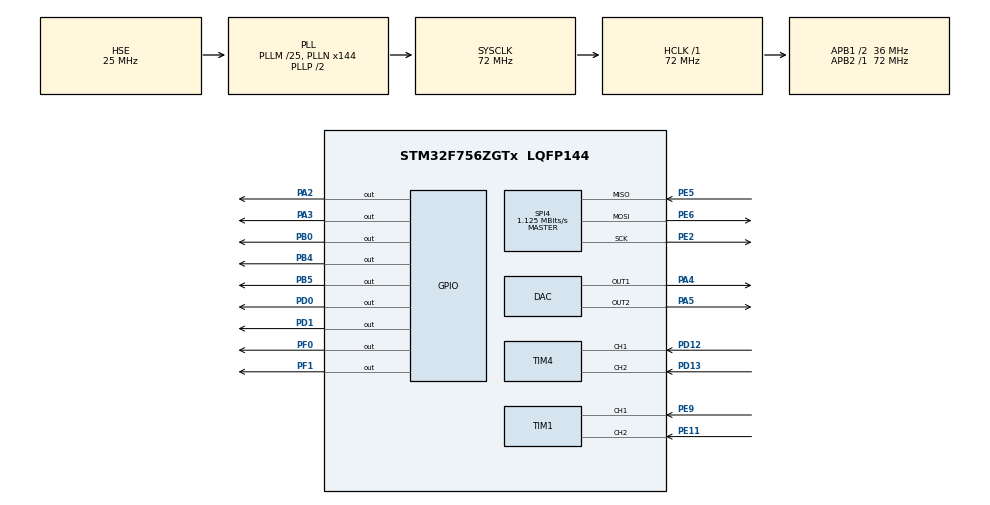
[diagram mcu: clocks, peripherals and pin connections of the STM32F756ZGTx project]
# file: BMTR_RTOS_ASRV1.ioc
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CORTEX_M7.default_mode_Activation=1
FATFS._MAX_SS=4096
FREERTOS.Tasks01=Record,0,128,StartDefaultTask,Default,NULL,Dynamic,NULL,NULL;MainController,2,128,StartTask02,Default,NULL,Dynamic,NULL,NULL
Mcu.Family=STM32F7
Mcu.Name=STM32F756ZGTx
Mcu.Package=LQFP144
NVIC.PriorityGroup=NVIC_PRIORITYGROUP_4
NVIC.TIM5_IRQn=true\:15\:0\:false\:false\:true\:false\:false\:true\:true
NVIC.TIM8_UP_TIM13_IRQn=true\:5\:0\:false\:false\:true\:true\:true\:true\:true
NVIC.TimeBase=TIM5_IRQn
NVIC.TimeBaseIP=TIM5
PA13.Mode=Serial_Wire
PA13.Signal=SYS_JTMS-SWDIO
PA14.Mode=Serial_Wire
PA14.Signal=SYS_JTCK-SWCLK
PA2.Signal=GPIO_Output
PA3.Signal=GPIO_Output
PA4.Signal=COMP_DAC1_group
PA5.Signal=COMP_DAC2_group
PB0.Signal=GPIO_Output
PB4.Signal=GPIO_Output
PB5.Signal=GPIO_Output
PD0.Signal=GPIO_Output
PD1.Signal=GPIO_Output
PD12.Signal=S_TIM4_CH1
PD13.Signal=S_TIM4_CH2
PE11.Signal=S_TIM1_CH2
PE2.Mode=Full_Duplex_Master
PE2.Signal=SPI4_SCK
PE5.Mode=Full_Duplex_Master
PE5.Signal=SPI4_MISO
PE6.Mode=Full_Duplex_Master
PE6.Signal=SPI4_MOSI
PE9.Signal=S_TIM1_CH1
PF0.Signal=GPIO_Output
PF1.Signal=GPIO_Output
PH0/OSC_IN.Mode=HSE-External-Oscillator
PH0/OSC_IN.Signal=RCC_OSC_IN
PH1/OSC_OUT.Mode=HSE-External-Oscillator
PH1/OSC_OUT.Signal=RCC_OSC_OUT
ProjectManager.HeapSize=0x200
ProjectManager.StackSize=0x400
ProjectManager.TargetToolchain=STM32CubeIDE
RCC.AHBFreq_Value=72000000
RCC.APB1CLKDivider=RCC_HCLK_DIV2
RCC.APB1Freq_Value=36000000
RCC.APB1TimFreq_Value=72000000
RCC.APB2Freq_Value=72000000
RCC.APB2TimFreq_Value=72000000
RCC.CortexFreq_Value=72000000
RCC.HCLKFreq_Value=72000000
RCC.HSE_VALUE=25000000
RCC.HSI_VALUE=16000000
RCC.LSE_VALUE=32768
RCC.PLLM=25
RCC.PLLN=144
RCC.PLLSourceVirtual=RCC_PLLSOURCE_HSE
RCC.SYSCLKFreq_VALUE=72000000
RCC.SYSCLKSource=RCC_SYSCLKSOURCE_PLLCLK
RCC.USBFreq_Value=72000000
RCC.VCOOutputFreq_Value=144000000
SH.COMP_DAC1_group.0=DAC_OUT1,DAC_OUT1
SH.COMP_DAC2_group.0=DAC_OUT2,DAC_OUT2
SH.S_TIM1_CH1.0=TIM1_CH1,Encoder_Interface
SH.S_TIM1_CH2.0=TIM1_CH2,Encoder_Interface
SH.S_TIM4_CH1.0=TIM4_CH1,Encoder_Interface
SH.S_TIM4_CH2.0=TIM4_CH2,Encoder_Interface
SPI4.BaudRatePrescaler=SPI_BAUDRATEPRESCALER_64
SPI4.CLKPhase=SPI_PHASE_1EDGE
SPI4.CalculateBaudRate=1.125 MBits/s
SPI4.DataSize=SPI_DATASIZE_8BIT
SPI4.Direction=SPI_DIRECTION_2LINES
SPI4.Mode=SPI_MODE_MASTER
SPI4.VirtualType=VM_MASTER
TIM1.EncoderMode=TIM_ENCODERMODE_TI12
TIM1.IC1Filter=4
TIM1.IC1Polarity=TIM_ICPOLARITY_FALLING
TIM1.IC2Filter=4
TIM1.IC2Polarity=TIM_ICPOLARITY_FALLING
TIM13.Period=999
TIM13.Prescaler=14400-1
TIM2.Period=0xFFFFFFFF
TIM2.Prescaler=72*5-1
TIM4.EncoderMode=TIM_ENCODERMODE_TI12
TIM4.IC1Filter=8
TIM4.IC1Polarity=TIM_ICPOLARITY_FALLING
TIM4.IC2Filter=8
TIM4.IC2Polarity=TIM_ICPOLARITY_FALLING
VP_FATFS_VS_Generic.Mode=User_defined
VP_FREERTOS_VS_CMSIS_V1.Mode=CMSIS_V1
VP_SYS_VS_tim5.Mode=TIM5
VP_TIM13_VS_ClockSourceINT.Mode=Enable_Timer
VP_TIM2_VS_ClockSourceINT.Mode=Internal
board=custom

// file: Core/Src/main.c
/* USER CODE BEGIN Header */
/**
  ******************************************************************************
  * @file           : main.c
  * @brief          : Main program body
  ******************************************************************************
  * @attention
  *
  * Copyright (c) 2025 STMicroelectronics.
  * All rights reserved.
  *
  * This software is licensed under terms that can be found in the LICENSE file
  * in the root directory of this software component.
  * If no LICENSE file comes with this software, it is provided AS-IS.
  *
  ******************************************************************************
  */
/* USER CODE END Header */
#include "main.h"
#include "cmsis_os.h"
#include "fatfs.h"

/* USER CODE BEGIN Includes */
#include "fatfs_sd.h"
#include "string.h"
#include "stdio.h"
#include <math.h>
#include <stdint.h>
#include <stdbool.h>
uint16_t dac_value=500;
/* USER CODE END Includes */

DAC_HandleTypeDef hdac;

SPI_HandleTypeDef hspi4;

TIM_HandleTypeDef htim1;
TIM_HandleTypeDef htim2;
TIM_HandleTypeDef htim4;
TIM_HandleTypeDef htim13;

osThreadId RecordHandle;
osThreadId MainControllerHandle;

void SystemClock_Config(void);
static void MPU_Config(void);
static void MX_GPIO_Init(void);
static void MX_TIM1_Init(void);
static void MX_TIM4_Init(void);
static void MX_TIM13_Init(void);
static void MX_SPI4_Init(void);
static void MX_DAC_Init(void);
static void MX_TIM2_Init(void);
void StartDefaultTask(void const * argument);
void StartTask02(void const * argument);

/* USER CODE BEGIN 0 */
// ────────────── ⏱ Timer & Counter Variables ──────────────
uint32_t MainTaskCount    = 0;
uint32_t RecordTaskCount  = 0;

// ────────────── 📟 Encoder Tick Counters ──────────────
uint32_t encoder_ticks    = 0;        // Current tick count from Encoder 1
uint32_t encoder_ticks_prev = 0;     // Previous tick count from Encoder 1
uint32_t encoder_ticks2   = 0;        // Current tick count from Encoder 2
uint32_t encoder_ticks2_prev = 0;    // Previous tick count from Encoder 2

// ────────────── ⏲ Counters for Events ──────────────
uint32_t MainloopCount    = 0;        // Main loop counter to track loop iterations or events
uint32_t SDCardCount      = 0;        // SD card related counter
uint32_t record_number    = 1;        // Record number counter
uint32_t communicationError = 0;      // Counter for communication errors

// ────────────── ⏳ Timing Variables ──────────────
uint32_t time_interval    = 5;        // Time interval in milliseconds (0.005 seconds at 20 kHz Timer)
uint32_t time_start       = 0;
uint32_t time_end         = 0;
uint32_t secondFromStart  = 0;

// ────────────── 🗄 File System Variables ──────────────
FATFS fs;                         // FatFs structure to manage the file system
FIL fil;                          // File object structure for file operations
FRESULT fresult;                  // Result variable to capture FatFs API function responses

// ────────────── 💾 Buffer for SD Card Operations ──────────────
char buffer[2048];                // Buffer for storing data during SD card operations
UINT br;                           // Bytes read from the file
UINT bw;                           // Bytes written to the file

// ────────────── 🧪 Test & Algorithm Variables ──────────────
FRESULT fresult2;
volatile int EncoderUpdated = 0;
int SDCardRecordMode = 0;

// ────────────── 🚀 Algorithm Code Variables ──────────────
#define CPR 53248.0f//(2048*26)         // Counter Per Revolution
#define MAX_COUNT 65535*26

// Position (angles in rad) for Encoder 1 and Encoder 2
int16_t prev_ticks1 = 0, prev_ticks2 = 0;    // Previous counts for each encoder
float theta1 = 0.0, theta2 = 0.0;
float theta1_prev = 0.0, theta2_prev = 0.0;

// Velocity calculations
float velocity1 = 0.0, velocity2 = 0.0;
float velocity1_prev = 0.0, velocity2_prev = 0.0;
float velocity1Filtered=0.0,velocity2Filtered=0.0;
// Acceleration calculations
float acceleration1 = 0.0, acceleration2 = 0.0;
float acceleration1_prev=0.0;
// ────────────── 🛠 Parameters ──────────────
#define G 70     // Smoothing factor for velocity filter
#define G2 70     // Smoothing factor for velocity filter
// ────────────── ⚙️ Motor 2 Parameters ──────────────
float Icmd2 = 1.1;      // Commanded current (A)
float Ktn2 = 0.0705;    // Torque constant (Nm/A)
float Jn2 = +3069.1e-7; // Motor inertia (kg·m^2)
float Gdis2 = 95.0;     // Disturbance observer gain
float Kt2 = 0.0705;     // Additional torque constant scaling
float Grtob2 = 45.0;    // Reaction torque observer gain
float Fint2 = 0.08;     // Internal force (Nm)
float Ffric2 = 0.04;    // Friction force (Nm)

// ────────────── ⚙️ Motor 1 Physical and Control Parameters ──────────────
float gear_ratio = 26.0f;                   // Gear ratio
float commanded_current = 0.0f;             // Icmd1: Commanded current (A)
float torque_constant_motor = 1.5365f;      // Ktn1: Motor torque constant (Nm/A),(0.0712 x 26 x 0.83)
float motor_inertia = 0.2144f;  //*26*26;           // Jn1: Motor inertia (kg·m²), (0.0003170 x 26 x 26)
float torque_constant_load = 1.5365f;       // Kt1: Load-side torque constant (Nm/A), (0.0712 x 26 x 0.83)
float disturbance_gain = 20.0f;             // Gdis1: DOB gain (~20Hz cutoff)
float reaction_gain = 20.0f;                // Grtob1: RTOB gain (~15Hz cutoff)
float internal_friction = 0.001f;//130f;          // Fint: Internal friction torque (Nm)
float viscous_friction = 0.0003f;           // Ffric: Viscous friction torque (Nm)
float pulses_per_revolution = 1024.0f;       // PPR: Encoder pulses per revolution
int motor_direction_flag = 0;
float dt_torque_constant_motor =0.0f;// Motor1DirB
uint16_t voltage_reference_1=0;
uint16_t voltage_reference_2=0;
// PI Controller gains for acceleration control
float proportional_gain = 4.6f;            // kp
float integral_gain = 0.0f;                // ki
float motor1MaxCurrent=3.0f;
// ────────────── ⏲️ Timing and Sampling ──────────────
float sampling_time = 0.005f;                 // dt_s: Set this appropriately in your loop

// ────────────── 📊 Observer and Control State Variables ──────────────
float previous_torque_error_integral = 0.0f;  // errorPreviousI1

// Output variables
float commanded_acceleration = 0.0f;
float inertia_compensation_current = 0.0f;
float disturbance_current = 0.0f;

// ────────────── 🔍 Disturbance Observer (DOB) Variables ──────────────
float estimated_motor_torque = 0.0f;
float estimated_velocity_disturbance = 0.0f;
float disturbance_observer_input = 0.0f;
float filtered_dob_input = 0.0f;
float filtered_dob_input_prev = 0.0f;
float estimated_torque_disturbance = 0.0f;

// ────────────── 🔍 Reaction Torque Observer (RTOB) Variables ──────────────
float updated_motor_torque = 0.0f;
float reaction_torque_input = 0.0f;
float filtered_reaction_torque = 0.0f;
float filtered_reaction_torque_prev = 0.0f;
float reaction_torque =0.0f;
float motor01_torque_profile_withtheta1 =0.0f;
float assit_torque = 0.0f;
// ────────────── ⚙️ Control Error Terms ──────────────
float desired_torque = 0.0f;                // Set externally per control target
float torque_error = 0.0f;
float torque_error_integral = 0.0f;
float motor_velocity = 0.0f;                // Set from encoder/sensor
float effective_velocity =0.0f;
// ────────────── ⚙️ Motor 2 Physical and Control Parameters ──────────────
float motor02_commanded_current = 0.0f;             // Commanded current (A)
float motor02_torque_constant = 1.5365f;            // Motor torque constant (Nm/A)
float motor02_inertia = 0.2144f;                 // Motor inertia (kg·m²)
float motor02_torque_constant_load = 1.5365f;       // Load-side torque constant (Nm/A)
float motor02_disturbance_gain = 20.1f;             // DOB gain (~20Hz cutoff)
float motor02_reaction_gain = 20.1f;                 // RTOB gain (~15Hz cutoff)
float motor02_internal_friction = 0.001f;          // Internal friction torque (Nm)
float motor02_viscous_friction = 0.0003f;           // Viscous friction torque (Nm)
float motor02_pulses_per_revolution = 1024.0f;       // Encoder pulses per revolution
float motor02_gear_ratio = 26.0f;                    // Gear ratio
int motor02_direction_flag = 0;                       // Motor direction flag

// PI Controller gains for acceleration control
float motor02_proportional_gain = 4.6f;            // kp
float motor02_integral_gain = 0.0f;                 // ki

// ────────────── ⏲️ Timing and Sampling ──────────────
float motor02_sampling_time = 0.005f;                  // dt_s (set appropriately)

// ────────────── 📊 Observer and Control State Variables ──────────────
float motor02_previous_torque_error_integral = 0.0f; // Integral error accumulator
bool reverse_motor2_encoder = true;  // Set to true to reverse Motor 2 encoder direction
// Output variables
float motor02_commanded_acceleration = 0.0f;
float motor02_inertia_compensation_current = 0.0f;
float motor02_disturbance_current = 0.0f;

// ────────────── 🔍 Disturbance Observer (DOB) Variables ──────────────
float motor02_estimated_motor_torque = 0.0f;
float motor02_estimated_velocity_disturbance = 0.0f;
float motor02_disturbance_observer_input = 0.0f;
float motor02_filtered_dob_input = 0.0f;
float motor02_filtered_dob_input_prev = 0.0f;
float motor02_estimated_torque_disturbance = 0.0f;

// ────────────── 🔍 Reaction Torque Observer (RTOB) Variables ──────────────
float motor02_updated_motor_torque = 0.0f;
float motor02_reaction_torque_input = 0.0f;
float motor02_filtered_reaction_torque = 0.0f;
float motor02_filtered_reaction_torque_prev = 0.0f;
float motor02_reaction_torque = 0.0f;
// ────────────── ⚙️ Control Error Terms ──────────────
float motor02_desired_torque = 0.0f;                  // Set externally per control target
float motor02_torque_error = 0.0f;
float motor02_torque_error_integral = 0.0f;
float motor02_motor_velocity = 0.0f;
float motor02_torque_profile_withtheta2 =0.0f;
// ────────────── 🚀 Acceleration Set Points ──────────────
float Set_Accelaration1 = 500;  // Desired acceleration
float Set_Torque1 = 0;  // Desired acceleration
float dt_s = 0.005f;
float ks=0.01f;
#define MOTOR2_DIRECTION_SIGN  (-1.0f)  // Set to 1.0f for forward mount, -1.0f for reversed
// ────────────── HAL Status ──────────────
HAL_StatusTypeDef status;
uint16_t OutputVref = 5000;         // DAC output voltage reference value
uint16_t ENABLEmOTOR = 1;         // DAC output voltage reference value

// ────────────── Low-pass Filter Function ──────────────
float applyLowPassFilterVelocity(float X, float Y_old) {
    // Apply the first-order low-pass filter formula
    float Y = Y_old + G *dt_s* (X - Y_old);  // Filtered value
    return Y;
}
float applyLowPassFilterVelocity2(float X, float Y_old) {
    // Apply the first-order low-pass filter formula
    float Y = Y_old + G2 *dt_s* (X - Y_old);  // Filtered value
    return Y;
}
float applyLowPassFilterAcceleration(float X, float Y_old) {
    float alpha = 0.05f;  // Adjust as needed (lower = smoother, higher = faster response)
    return Y_old + alpha * (X - Y_old);
}
// ────────────── Motor Control Functions ──────────────
void ConfigureMotor01(int Enable, int Clockwise, uint16_t dac_value) {
    HAL_GPIO_WritePin(GPIOB, GPIO_PIN_4, Clockwise);
    HAL_GPIO_WritePin(GPIOB, GPIO_PIN_5, Enable);
    HAL_DAC_SetValue(&hdac, DAC_CHANNEL_1, DAC_ALIGN_12B_R, dac_value);
}

void ConfigureMotor02(int Enable, int Clockwise, uint16_t dac_value) {
    HAL_GPIO_WritePin(GPIOA, GPIO_PIN_2, Clockwise);
    HAL_GPIO_WritePin(GPIOA, GPIO_PIN_3, Enable);
    HAL_DAC_SetValue(&hdac, DAC_CHANNEL_2, DAC_ALIGN_12B_R, dac_value);
}
void UpdateMotor01CommandedCurrent(void)
{
    /*********************************************************
     *        Disturbance Observer for Motor 01             *
     *********************************************************/

    // Calculate motor torque from commanded current
    estimated_motor_torque = commanded_current * torque_constant_motor;

    // Estimate velocity disturbance
    estimated_velocity_disturbance = motor_velocity * motor_inertia * disturbance_gain;
    //estimated_velocity_disturbance = updated_motor_torque + motor_velocity * motor_inertia * reaction_gain - (internal_friction + viscous_friction * motor_velocity);
    // Input to disturbance observer filter
    disturbance_observer_input = estimated_motor_torque - estimated_velocity_disturbance;

    // Apply low-pass filter (difference equation form)
    filtered_dob_input = filtered_dob_input_prev + (disturbance_gain * sampling_time)* (disturbance_observer_input - filtered_dob_input_prev);
    filtered_dob_input_prev = filtered_dob_input;

    // Estimate torque disturbance and convert to equivalent current
    estimated_torque_disturbance = filtered_dob_input - estimated_velocity_disturbance;
    disturbance_current = estimated_torque_disturbance / torque_constant_motor;

    /*********************************************************
     *   Torque Observer + PI Controller to Set Acceleration
     *********************************************************/

    // Recompute torque with updated current (for reaction estimation)
    estimated_motor_torque = commanded_current * torque_constant_motor;

    // Estimate total reaction torque input (includes inertia and losses)
    estimated_velocity_disturbance = motor_velocity * motor_inertia * reaction_gain;
    //Delta torque_constant_motor,  Delta torque_constant_motor
    reaction_torque_input = estimated_motor_torque -  estimated_velocity_disturbance - (internal_friction + (viscous_friction * motor_velocity) - (dt_torque_constant_motor*commanded_current));

    // Apply low-pass filter for reaction torque estimate
    filtered_reaction_torque = filtered_reaction_torque_prev + (reaction_gain * sampling_time) * (reaction_torque_input - filtered_reaction_torque_prev);
    filtered_reaction_torque_prev = filtered_reaction_torque;

    // Subtract inertial effect to isolate external torque

    reaction_torque = filtered_reaction_torque - estimated_velocity_disturbance;
    //desired_torque = motor01_torque_profile_withtheta1;
    // PI Controller for acceleration control
    torque_error = (desired_torque - reaction_torque);
    torque_error_integral = (torque_error * sampling_time) + previous_torque_error_integral;
    previous_torque_error_integral = torque_error_integral;

    commanded_acceleration = (proportional_gain * torque_error) + (integral_gain * torque_error_integral);

    // Compute inertia-driven current command
    inertia_compensation_current = (motor_inertia * commanded_acceleration) / torque_constant_motor;

    // Final commanded current is inertia compensation + disturbance compensation
    //commanded_current = inertia_compensation_current + disturbance_current;
     commanded_current = inertia_compensation_current+ disturbance_current; //added for DOB tuning
     desired_torque=ks*(theta1-theta2)*motor_inertia-reaction_torque-motor02_reaction_torque;
}
void UpdateMotor02CommandedCurrent(void)
{
    /*********************************************************
     *  1. Disturbance Observer for Motor 02
     *********************************************************/

    // Calculate estimated motor torque
    motor02_estimated_motor_torque = motor02_commanded_current * motor02_torque_constant;

    // Apply direction correction to velocity
    effective_velocity =motor02_motor_velocity;

    // Estimate velocity disturbance
    motor02_estimated_velocity_disturbance = effective_velocity * motor02_inertia * motor02_disturbance_gain;

    // Input to disturbance observer filter
    motor02_disturbance_observer_input = motor02_estimated_motor_torque - motor02_estimated_velocity_disturbance;

    // Low-pass filter (difference equation form)
    motor02_filtered_dob_input = motor02_filtered_dob_input_prev +
                                 (motor02_disturbance_gain * motor02_sampling_time) *
                                 (motor02_disturbance_observer_input - motor02_filtered_dob_input_prev);
    motor02_filtered_dob_input_prev = motor02_filtered_dob_input;

    // Torque disturbance and equivalent current
    motor02_estimated_torque_disturbance = motor02_filtered_dob_input - motor02_estimated_velocity_disturbance;
    motor02_disturbance_current = motor02_estimated_torque_disturbance / motor02_torque_constant;

    /*********************************************************
     *   Torque Observer + PI Controller to Set Acceleration
     *********************************************************/

    motor02_updated_motor_torque = motor02_commanded_current * motor02_torque_constant;

    motor02_reaction_torque_input = motor02_updated_motor_torque - motor02_estimated_velocity_disturbance
                                    - (motor02_internal_friction + motor02_viscous_friction * effective_velocity);

    motor02_filtered_reaction_torque = motor02_filtered_reaction_torque_prev +
                                       (motor02_reaction_gain * motor02_sampling_time) *
                                       (motor02_reaction_torque_input - motor02_filtered_reaction_torque_prev);
    motor02_filtered_reaction_torque_prev = motor02_filtered_reaction_torque;

    motor02_reaction_torque = motor02_filtered_reaction_torque -
                              (effective_velocity * motor02_inertia * motor02_reaction_gain);

    motor02_torque_error = motor02_desired_torque - motor02_reaction_torque;
    motor02_torque_error_integral = (motor02_torque_error * motor02_sampling_time) + motor02_previous_torque_error_integral;
    motor02_previous_torque_error_integral = motor02_torque_error_integral;

    motor02_commanded_acceleration =
        (motor02_proportional_gain * motor02_torque_error) +
        (motor02_integral_gain * motor02_torque_error_integral);

    motor02_inertia_compensation_current =
        (motor02_inertia * motor02_commanded_acceleration) / motor02_torque_constant;

    motor02_commanded_current = motor02_inertia_compensation_current + motor02_disturbance_current;
    motor02_desired_torque =(ks*(theta2-theta1)*motor_inertia-reaction_torque-motor02_reaction_torque);

}

/* USER CODE END 0 */

int main(void)
{

  /* MPU Configuration--------------------------------------------------------*/
  MPU_Config();

  /* MCU Configuration--------------------------------------------------------*/

  /* Reset of all peripherals, Initializes the Flash interface and the Systick. */
  HAL_Init();

  /* Configure the system clock */
  SystemClock_Config();

  /* Initialize all configured peripherals */
  MX_GPIO_Init();
  MX_TIM1_Init();
  MX_TIM4_Init();
  MX_TIM13_Init();
  MX_SPI4_Init();
  MX_FATFS_Init();
  MX_DAC_Init();
  MX_TIM2_Init();
  /* USER CODE BEGIN 2 */
  HAL_TIM_Encoder_Start(&htim4, TIM_CHANNEL_ALL);
  HAL_TIM_Encoder_Start(&htim1, TIM_CHANNEL_ALL);
  HAL_TIM_Base_Start(&htim2);
  HAL_DAC_Start(&hdac, DAC_CHANNEL_1);
  HAL_DAC_Start(&hdac, DAC_CHANNEL_2);
  /* USER CODE END 2 */

  /* Create the thread(s) */
  /* definition and creation of Record */
  osThreadDef(Record, StartDefaultTask, osPriorityNormal, 0, 128);
  RecordHandle = osThreadCreate(osThread(Record), NULL);

  /* definition and creation of MainController */
  osThreadDef(MainController, StartTask02, osPriorityHigh, 0, 128);
  MainControllerHandle = osThreadCreate(osThread(MainController), NULL);

  /* Start scheduler */
  osKernelStart();

  /* We should never get here as control is now taken by the scheduler */

  /* Infinite loop */
  while (1)
  {

  }
}

void SystemClock_Config(void)
{
  RCC_OscInitTypeDef RCC_OscInitStruct = {0};
  RCC_ClkInitTypeDef RCC_ClkInitStruct = {0};

  /** Configure the main internal regulator output voltage
  */
  __HAL_RCC_PWR_CLK_ENABLE();
  __HAL_PWR_VOLTAGESCALING_CONFIG(PWR_REGULATOR_VOLTAGE_SCALE3);

  /** Initializes the RCC Oscillators according to the specified parameters
  * in the RCC_OscInitTypeDef structure.
  */
  RCC_OscInitStruct.OscillatorType = RCC_OSCILLATORTYPE_HSE;
  RCC_OscInitStruct.HSEState = RCC_HSE_ON;
  RCC_OscInitStruct.PLL.PLLState = RCC_PLL_ON;
  RCC_OscInitStruct.PLL.PLLSource = RCC_PLLSOURCE_HSE;
  RCC_OscInitStruct.PLL.PLLM = 25;
  RCC_OscInitStruct.PLL.PLLN = 144;
  RCC_OscInitStruct.PLL.PLLP = RCC_PLLP_DIV2;
  RCC_OscInitStruct.PLL.PLLQ = 2;
  if (HAL_RCC_OscConfig(&RCC_OscInitStruct) != HAL_OK)
  {
    Error_Handler();
  }

  /** Initializes the CPU, AHB and APB buses clocks
  */
  RCC_ClkInitStruct.ClockType = RCC_CLOCKTYPE_HCLK|RCC_CLOCKTYPE_SYSCLK
                              |RCC_CLOCKTYPE_PCLK1|RCC_CLOCKTYPE_PCLK2;
  RCC_ClkInitStruct.SYSCLKSource = RCC_SYSCLKSOURCE_PLLCLK;
  RCC_ClkInitStruct.AHBCLKDivider = RCC_SYSCLK_DIV1;
  RCC_ClkInitStruct.APB1CLKDivider = RCC_HCLK_DIV2;
  RCC_ClkInitStruct.APB2CLKDivider = RCC_HCLK_DIV1;

  if (HAL_RCC_ClockConfig(&RCC_ClkInitStruct, FLASH_LATENCY_2) != HAL_OK)
  {
    Error_Handler();
  }
}

static void MX_DAC_Init(void)
{

  DAC_ChannelConfTypeDef sConfig = {0};

  /** DAC Initialization
  */
  hdac.Instance = DAC;
  if (HAL_DAC_Init(&hdac) != HAL_OK)
  {
    Error_Handler();
  }

  /** DAC channel OUT1 config
  */
  sConfig.DAC_Trigger = DAC_TRIGGER_NONE;
  sConfig.DAC_OutputBuffer = DAC_OUTPUTBUFFER_ENABLE;
  if (HAL_DAC_ConfigChannel(&hdac, &sConfig, DAC_CHANNEL_1) != HAL_OK)
  {
    Error_Handler();
  }

  /** DAC channel OUT2 config
  */
  if (HAL_DAC_ConfigChannel(&hdac, &sConfig, DAC_CHANNEL_2) != HAL_OK)
  {
    Error_Handler();
  }

}

static void MX_SPI4_Init(void)
{

  /* SPI4 parameter configuration*/
  hspi4.Instance = SPI4;
  hspi4.Init.Mode = SPI_MODE_MASTER;
  hspi4.Init.Direction = SPI_DIRECTION_2LINES;
  hspi4.Init.DataSize = SPI_DATASIZE_8BIT;
  hspi4.Init.CLKPolarity = SPI_POLARITY_LOW;
  hspi4.Init.CLKPhase = SPI_PHASE_1EDGE;
  hspi4.Init.NSS = SPI_NSS_SOFT;
  hspi4.Init.BaudRatePrescaler = SPI_BAUDRATEPRESCALER_64;
  hspi4.Init.FirstBit = SPI_FIRSTBIT_MSB;
  hspi4.Init.TIMode = SPI_TIMODE_DISABLE;
  hspi4.Init.CRCCalculation = SPI_CRCCALCULATION_DISABLE;
  hspi4.Init.CRCPolynomial = 7;
  hspi4.Init.CRCLength = SPI_CRC_LENGTH_DATASIZE;
  hspi4.Init.NSSPMode = SPI_NSS_PULSE_ENABLE;
  if (HAL_SPI_Init(&hspi4) != HAL_OK)
  {
    Error_Handler();
  }

}

static void MX_TIM1_Init(void)
{

  TIM_Encoder_InitTypeDef sConfig = {0};
  TIM_MasterConfigTypeDef sMasterConfig = {0};

  htim1.Instance = TIM1;
  htim1.Init.Prescaler = 0;
  htim1.Init.CounterMode = TIM_COUNTERMODE_UP;
  htim1.Init.Period = 65535;
  htim1.Init.ClockDivision = TIM_CLOCKDIVISION_DIV1;
  htim1.Init.RepetitionCounter = 0;
  htim1.Init.AutoReloadPreload = TIM_AUTORELOAD_PRELOAD_DISABLE;
  sConfig.EncoderMode = TIM_ENCODERMODE_TI12;
  sConfig.IC1Polarity = TIM_ICPOLARITY_FALLING;
  sConfig.IC1Selection = TIM_ICSELECTION_DIRECTTI;
  sConfig.IC1Prescaler = TIM_ICPSC_DIV1;
  sConfig.IC1Filter = 4;
  sConfig.IC2Polarity = TIM_ICPOLARITY_FALLING;
  sConfig.IC2Selection = TIM_ICSELECTION_DIRECTTI;
  sConfig.IC2Prescaler = TIM_ICPSC_DIV1;
  sConfig.IC2Filter = 4;
  if (HAL_TIM_Encoder_Init(&htim1, &sConfig) != HAL_OK)
  {
    Error_Handler();
  }
  sMasterConfig.MasterOutputTrigger = TIM_TRGO_RESET;
  sMasterConfig.MasterOutputTrigger2 = TIM_TRGO2_RESET;
  sMasterConfig.MasterSlaveMode = TIM_MASTERSLAVEMODE_DISABLE;
  if (HAL_TIMEx_MasterConfigSynchronization(&htim1, &sMasterConfig) != HAL_OK)
  {
    Error_Handler();
  }

}

static void MX_TIM2_Init(void)
{

  TIM_ClockConfigTypeDef sClockSourceConfig = {0};
  TIM_MasterConfigTypeDef sMasterConfig = {0};

  htim2.Instance = TIM2;
  htim2.Init.Prescaler = 72*5-1;
  htim2.Init.CounterMode = TIM_COUNTERMODE_UP;
  htim2.Init.Period = 0xFFFFFFFF;
  htim2.Init.ClockDivision = TIM_CLOCKDIVISION_DIV1;
  htim2.Init.AutoReloadPreload = TIM_AUTORELOAD_PRELOAD_DISABLE;
  if (HAL_TIM_Base_Init(&htim2) != HAL_OK)
  {
    Error_Handler();
  }
  sClockSourceConfig.ClockSource = TIM_CLOCKSOURCE_INTERNAL;
  if (HAL_TIM_ConfigClockSource(&htim2, &sClockSourceConfig) != HAL_OK)
  {
    Error_Handler();
  }
  sMasterConfig.MasterOutputTrigger = TIM_TRGO_RESET;
  sMasterConfig.MasterSlaveMode = TIM_MASTERSLAVEMODE_DISABLE;
  if (HAL_TIMEx_MasterConfigSynchronization(&htim2, &sMasterConfig) != HAL_OK)
  {
    Error_Handler();
  }

}

static void MX_TIM4_Init(void)
{

  TIM_Encoder_InitTypeDef sConfig = {0};
  TIM_MasterConfigTypeDef sMasterConfig = {0};

  htim4.Instance = TIM4;
  htim4.Init.Prescaler = 0;
  htim4.Init.CounterMode = TIM_COUNTERMODE_UP;
  htim4.Init.Period = 65535;
  htim4.Init.ClockDivision = TIM_CLOCKDIVISION_DIV1;
  htim4.Init.AutoReloadPreload = TIM_AUTORELOAD_PRELOAD_DISABLE;
  sConfig.EncoderMode = TIM_ENCODERMODE_TI12;
  sConfig.IC1Polarity = TIM_ICPOLARITY_FALLING;
  sConfig.IC1Selection = TIM_ICSELECTION_DIRECTTI;
  sConfig.IC1Prescaler = TIM_ICPSC_DIV1;
  sConfig.IC1Filter = 8;
  sConfig.IC2Polarity = TIM_ICPOLARITY_FALLING;
  sConfig.IC2Selection = TIM_ICSELECTION_DIRECTTI;
  sConfig.IC2Prescaler = TIM_ICPSC_DIV1;
  sConfig.IC2Filter = 8;
  if (HAL_TIM_Encoder_Init(&htim4, &sConfig) != HAL_OK)
  {
    Error_Handler();
  }
  sMasterConfig.MasterOutputTrigger = TIM_TRGO_RESET;
  sMasterConfig.MasterSlaveMode = TIM_MASTERSLAVEMODE_DISABLE;
  if (HAL_TIMEx_MasterConfigSynchronization(&htim4, &sMasterConfig) != HAL_OK)
  {
    Error_Handler();
  }

}

static void MX_TIM13_Init(void)
{

  htim13.Instance = TIM13;
  htim13.Init.Prescaler = 14400-1;
  htim13.Init.CounterMode = TIM_COUNTERMODE_UP;
  htim13.Init.Period = 999;
  htim13.Init.ClockDivision = TIM_CLOCKDIVISION_DIV1;
  htim13.Init.AutoReloadPreload = TIM_AUTORELOAD_PRELOAD_DISABLE;
  if (HAL_TIM_Base_Init(&htim13) != HAL_OK)
  {
    Error_Handler();
  }

}

static void MX_GPIO_Init(void)
{
  GPIO_InitTypeDef GPIO_InitStruct = {0};

  /* GPIO Ports Clock Enable */
  __HAL_RCC_GPIOE_CLK_ENABLE();
  __HAL_RCC_GPIOF_CLK_ENABLE();
  __HAL_RCC_GPIOH_CLK_ENABLE();
  __HAL_RCC_GPIOA_CLK_ENABLE();
  __HAL_RCC_GPIOB_CLK_ENABLE();
  __HAL_RCC_GPIOD_CLK_ENABLE();

  /*Configure GPIO pin Output Level */
  HAL_GPIO_WritePin(GPIOF, GPIO_PIN_0|GPIO_PIN_1, GPIO_PIN_RESET);

  /*Configure GPIO pin Output Level */
  HAL_GPIO_WritePin(GPIOA, GPIO_PIN_2|GPIO_PIN_3, GPIO_PIN_RESET);

  /*Configure GPIO pin Output Level */
  HAL_GPIO_WritePin(GPIOB, GPIO_PIN_0|GPIO_PIN_4|GPIO_PIN_5, GPIO_PIN_RESET);

  /*Configure GPIO pin Output Level */
  HAL_GPIO_WritePin(GPIOD, GPIO_PIN_0|GPIO_PIN_1, GPIO_PIN_RESET);

  /*Configure GPIO pins : PF0 PF1 */
  GPIO_InitStruct.Pin = GPIO_PIN_0|GPIO_PIN_1;
  GPIO_InitStruct.Mode = GPIO_MODE_OUTPUT_PP;
  GPIO_InitStruct.Pull = GPIO_NOPULL;
  GPIO_InitStruct.Speed = GPIO_SPEED_FREQ_LOW;
  HAL_GPIO_Init(GPIOF, &GPIO_InitStruct);

  /*Configure GPIO pins : PA2 PA3 */
  GPIO_InitStruct.Pin = GPIO_PIN_2|GPIO_PIN_3;
  GPIO_InitStruct.Mode = GPIO_MODE_OUTPUT_PP;
  GPIO_InitStruct.Pull = GPIO_NOPULL;
  GPIO_InitStruct.Speed = GPIO_SPEED_FREQ_LOW;
  HAL_GPIO_Init(GPIOA, &GPIO_InitStruct);

  /*Configure GPIO pins : PB0 PB4 PB5 */
  GPIO_InitStruct.Pin = GPIO_PIN_0|GPIO_PIN_4|GPIO_PIN_5;
  GPIO_InitStruct.Mode = GPIO_MODE_OUTPUT_PP;
  GPIO_InitStruct.Pull = GPIO_NOPULL;
  GPIO_InitStruct.Speed = GPIO_SPEED_FREQ_LOW;
  HAL_GPIO_Init(GPIOB, &GPIO_InitStruct);

  /*Configure GPIO pins : PD0 PD1 */
  GPIO_InitStruct.Pin = GPIO_PIN_0|GPIO_PIN_1;
  GPIO_InitStruct.Mode = GPIO_MODE_OUTPUT_PP;
  GPIO_InitStruct.Pull = GPIO_NOPULL;
  GPIO_InitStruct.Speed = GPIO_SPEED_FREQ_LOW;
  HAL_GPIO_Init(GPIOD, &GPIO_InitStruct);

}

void StartDefaultTask(void const * argument)
{
  static int16_t prev_ticks1 = 0;
  static int16_t prev_ticks2 = 0;

  for (;;)
  {
    uint32_t t_start = __HAL_TIM_GET_COUNTER(&htim2);
    uint32_t t_now   = t_start;

    while (((t_now - t_start) & 0xFFFFFFFF) < 200)  // Run for 2000 µs (2 ms)
    {
      MainTaskCount++;
      MainloopCount++;
      time_start = __HAL_TIM_GET_COUNTER(&htim2);

      EncoderUpdated = 0;
      encoder_ticks  = __HAL_TIM_GET_COUNTER(&htim1);
      encoder_ticks2 = __HAL_TIM_GET_COUNTER(&htim4);
      EncoderUpdated = 1;

      secondFromStart = time_start / 1000000.0f;

      /************ Motor 1 (Encoder 1) ************/
      int16_t curr_ticks1 = __HAL_TIM_GET_COUNTER(&htim1);
      int16_t delta_ticks1 = (int16_t)(curr_ticks1 - prev_ticks1);
      prev_ticks1 = curr_ticks1;

      float delta_theta1 = delta_ticks1 * 2.0f * M_PI / CPR;
      theta1 += delta_theta1;

      velocity1 = (theta1 - theta1_prev) / dt_s;
      motor_velocity = velocity1_prev + G * dt_s * (velocity1 - velocity1_prev);
      theta1_prev = theta1;
      velocity1_prev = motor_velocity;

      /************ Motor 2 (Encoder 2) ************/
      int16_t curr_ticks2 = __HAL_TIM_GET_COUNTER(&htim4);
      int16_t delta_ticks2 = (int16_t)(curr_ticks2 - prev_ticks2);
      prev_ticks2 = curr_ticks2;

      float delta_theta2 = delta_ticks2 * 2.0f * M_PI / CPR;
      theta2 += delta_theta2;

      velocity2 = (theta2 - theta2_prev) / dt_s;
      float raw_accel2 = (velocity2 - velocity2_prev) / dt_s;
      acceleration2 = 0.9f * acceleration2 + 0.1f * raw_accel2;

      motor02_motor_velocity = applyLowPassFilterVelocity2(velocity2, velocity2_prev);
      theta2_prev = theta2;
      velocity2_prev = motor02_motor_velocity;

      UpdateMotor01CommandedCurrent();
      UpdateMotor02CommandedCurrent();

      // === Motor 1 Output ===
      float curr = commanded_current;
      curr = (curr > motor1MaxCurrent) ? motor1MaxCurrent : (curr < -motor1MaxCurrent ? -motor1MaxCurrent : curr);
      motor_direction_flag = (curr >= 0) ? 1 : 0;
      voltage_reference_1 = (4095.0f / motor1MaxCurrent) * fabsf(curr);
      ConfigureMotor01(ENABLEmOTOR, motor_direction_flag, voltage_reference_1);

      // === Motor 2 Output ===
      curr = motor02_commanded_current;
      curr = (curr > 3.0f) ? 3.0f : (curr < -3.0f ? -3.0f : curr);
      motor02_direction_flag = (curr >= 0) ? 1 : 0;
      voltage_reference_2 = (4095.0f / 3.0f) * fabsf(curr);
      ConfigureMotor02(ENABLEmOTOR, motor02_direction_flag, voltage_reference_2);

      t_now = __HAL_TIM_GET_COUNTER(&htim2);
      uint32_t delta_time_us = (t_now - time_start) & 0xFFFFFFFF;  // Handles overflow
      dt_s = delta_time_us / 100000.0f;  // Convert µs to seconds

    }

    // Optional: Yield to let other tasks run
    taskYIELD();
  }
}

void StartTask02(void const * argument)
{
  TickType_t lastWakeTime = xTaskGetTickCount();
  const TickType_t frequency = pdMS_TO_TICKS(2); // 2 ms

  for (;;)
  {
    if (SDCardRecordMode == 1 && EncoderUpdated == 1 && communicationError == 0)
    {
      SDCardCount++;
      FRESULT fr;
      UINT bytes_written;

      fr = f_open(&fil, "Data.txt", FA_OPEN_APPEND | FA_WRITE);
      if (fr == FR_OK)
      {
        sprintf(buffer, "R%lu: E1: %lu, E2: %lu\n", SDCardCount, encoder_ticks, encoder_ticks2);
        fr = f_write(&fil, buffer, strlen(buffer), &bytes_written);
        f_close(&fil);

        if (fr != FR_OK || bytes_written == 0)
          communicationError = 1;

        EncoderUpdated = 0;
        record_number++;
      }
      else
      {
        communicationError = 1;
      }
    }

    osDelay(2);

  }
}

  /* USER CODE END StartTask02 */

 /* MPU Configuration */

void MPU_Config(void)
{
  MPU_Region_InitTypeDef MPU_InitStruct = {0};

  /* Disables the MPU */
  HAL_MPU_Disable();

  /** Initializes and configures the Region and the memory to be protected
  */
  MPU_InitStruct.Enable = MPU_REGION_ENABLE;
  MPU_InitStruct.Number = MPU_REGION_NUMBER0;
  MPU_InitStruct.BaseAddress = 0x0;
  MPU_InitStruct.Size = MPU_REGION_SIZE_4GB;
  MPU_InitStruct.SubRegionDisable = 0x87;
  MPU_InitStruct.TypeExtField = MPU_TEX_LEVEL0;
  MPU_InitStruct.AccessPermission = MPU_REGION_NO_ACCESS;
  MPU_InitStruct.DisableExec = MPU_INSTRUCTION_ACCESS_DISABLE;
  MPU_InitStruct.IsShareable = MPU_ACCESS_SHAREABLE;
  MPU_InitStruct.IsCacheable = MPU_ACCESS_NOT_CACHEABLE;
  MPU_InitStruct.IsBufferable = MPU_ACCESS_NOT_BUFFERABLE;

  HAL_MPU_ConfigRegion(&MPU_InitStruct);
  /* Enables the MPU */
  HAL_MPU_Enable(MPU_PRIVILEGED_DEFAULT);

}

void HAL_TIM_PeriodElapsedCallback(TIM_HandleTypeDef *htim)
{
  if (htim->Instance == TIM5)
  {
    HAL_IncTick();
  }
}

void Error_Handler(void)
{
  __disable_irq();
  while (1)
  {
  }
}
